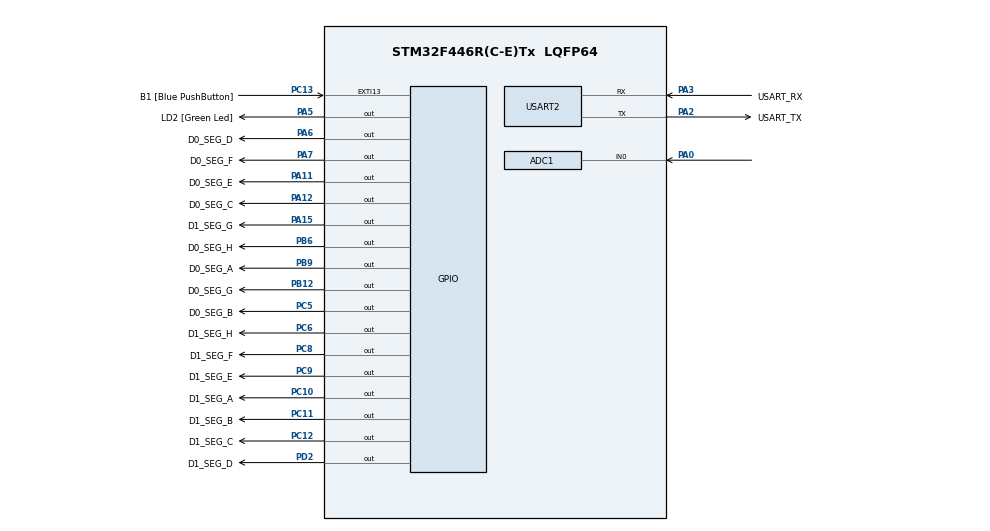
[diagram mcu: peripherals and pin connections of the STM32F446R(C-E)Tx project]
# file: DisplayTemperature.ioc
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Mcu.Family=STM32F4
PH0-OSC_IN.Signal=RCC_OSC_IN
RCC.CortexFreq_Value=84000000
ADC1.ContinuousConvMode=ENABLE
PC10.Signal=GPIO_Output
PC12.Signal=GPIO_Output
PA14.GPIO_Label=TCK
PC6.GPIO_Label=D1_SEG_H
PA6.GPIO_Label=D0_SEG_D
PB6.GPIO_Label=D0_SEG_H
PC13.GPIO_Label=B1 [Blue PushButton]
PA5.PinState=GPIO_PIN_RESET
RCC.SYSCLKSource=RCC_SYSCLKSOURCE_PLLCLK
ProjectManager.StackSize=0x400
PC8.PinState=GPIO_PIN_SET
PA15.GPIO_Label=D1_SEG_G
PA12.Signal=GPIO_Output
PA7.PinState=GPIO_PIN_SET
ADC1.Channel-3\#ChannelRegularConversion=ADC_CHANNEL_0
RCC.HCLKFreq_Value=84000000
RCC.APB2TimFreq_Value=84000000
PB6.Signal=GPIO_Output
PB12.PinState=GPIO_PIN_SET
RCC.AHBFreq_Value=84000000
PH0-OSC_IN.Mode=HSE-External-Oscillator
PA12.PinState=GPIO_PIN_SET
RCC.HSE_VALUE=8000000
PB12.GPIO_Label=D0_SEG_G
PC14-OSC32_IN.Mode=LSE-External-Oscillator
PA14.Mode=Serial_Wire
PC11.GPIO_Label=D1_SEG_B
SH.ADCx_IN0.0=ADC1_IN0,IN0
PC10.PinState=GPIO_PIN_SET
RCC.FLatency-AdvancedSettings=FLASH_LATENCY_2
PH1-OSC_OUT.Mode=HSE-External-Oscillator
Mcu.Package=LQFP64
PB9.Signal=GPIO_Output
PA6.Signal=GPIO_Output
USART2.VirtualMode=VM_ASYNC
PA2.GPIO_Label=USART_TX
PA15.Signal=GPIO_Output
RCC.APB1TimFreq_Value=84000000
PC5.Signal=GPIO_Output
ADC1.EOCSelection=ADC_EOC_SEQ_CONV
PA12.GPIO_Speed=GPIO_SPEED_FREQ_LOW
PA3.Signal=USART2_RX
PB3.GPIO_Label=SWO
PC15-OSC32_OUT.Mode=LSE-External-Oscillator
PB9.GPIO_Label=D0_SEG_A
PC10.GPIO_Label=D1_SEG_A
PC9.GPIO_Label=D1_SEG_E
PC11.Signal=GPIO_Output
PC13.Signal=GPXTI13
PC8.Signal=GPIO_Output
PC6.Signal=GPIO_Output
PC9.PinState=GPIO_PIN_SET
PA11.GPIO_Label=D0_SEG_E
PA6.PinState=GPIO_PIN_SET
RCC.APB1CLKDivider=RCC_HCLK_DIV2
PC14-OSC32_IN.Signal=RCC_OSC32_IN
PA12.GPIO_Label=D0_SEG_C
PA0-WKUP.Signal=ADCx_IN0
PC8.GPIO_Label=D1_SEG_F
PA3.Mode=Asynchronous
PA13.Signal=SYS_JTMS-SWDIO
PC12.PinState=GPIO_PIN_SET
ProjectManager.TargetToolchain=STM32CubeIDE
RCC.USBFreq_Value=168000000
PC15-OSC32_OUT.Signal=RCC_OSC32_OUT
PC6.PinState=GPIO_PIN_SET
PA5.Signal=GPIO_Output
PD2.PinState=GPIO_PIN_SET
board=NUCLEO-F446RE
RCC.VCOOutputFreq_Value=336000000
PA15.PinState=GPIO_PIN_SET
RCC.APB2Freq_Value=84000000
PC11.PinState=GPIO_PIN_SET
PH1-OSC_OUT.Signal=RCC_OSC_OUT
PA13.Mode=Serial_Wire
Mcu.Name=STM32F446R(C-E)Tx
PA2.Signal=USART2_TX
PA13.GPIO_Label=TMS
RCC.48MHZClocksFreq_Value=84000000
PB3.Signal=SYS_JTDO-SWO
RCC.SYSCLKFreq_VALUE=84000000
PA7.GPIO_Label=D0_SEG_F
ADC1.master=1
PC5.PinState=GPIO_PIN_SET
PA5.GPIO_Label=LD2 [Green Led]
ADC1.Rank-3\#ChannelRegularConversion=1
ADC1.SamplingTime-3\#ChannelRegularConversion=ADC_SAMPLETIME_3CYCLES
PC13.GPIO_ModeDefaultEXTI=GPIO_MODE_IT_FALLING
PC5.GPIO_Label=D0_SEG_B
PC12.GPIO_Label=D1_SEG_C
PB6.PinState=GPIO_PIN_SET
PB9.PinState=GPIO_PIN_SET
PA11.Signal=GPIO_Output
PA14.Signal=SYS_JTCK-SWCLK
ProjectManager.HeapSize=0x200
RCC.HSI_VALUE=16000000
RCC.PLLP=RCC_PLLP_DIV4
NVIC.PriorityGroup=NVIC_PRIORITYGROUP_0
ADC1.NbrOfConversionFlag=1
RCC.PLLN=336
PA2.Mode=Asynchronous
PC9.Signal=GPIO_Output
PD2.Signal=GPIO_Output
PA11.PinState=GPIO_PIN_SET
RCC.APB1Freq_Value=42000000
PB12.Signal=GPIO_Output
PD2.GPIO_Label=D1_SEG_D
PA3.GPIO_Label=USART_RX
PA7.Signal=GPIO_Output

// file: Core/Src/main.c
/* USER CODE BEGIN Header */
/**
 ******************************************************************************
 * @file           : main.c
 * @brief          : Main program body
 ******************************************************************************
 * @attention
 *
 * <h2><center>&copy; Copyright (c) 2021 STMicroelectronics.
 * All rights reserved.</center></h2>
 *
 * This software component is licensed by ST under BSD 3-Clause license,
 * the "License"; You may not use this file except in compliance with the
 * License. You may obtain a copy of the License at:
 *                        opensource.org/licenses/BSD-3-Clause
 *
 ******************************************************************************
 */
/* USER CODE END Header */
#include "main.h"

/* USER CODE BEGIN Includes */

#include "Display.h"
#include "MCP9701ADataProcessor.h"

/* USER CODE END Includes */

ADC_HandleTypeDef hadc1;

UART_HandleTypeDef huart2;

void SystemClock_Config (void);
static void MX_GPIO_Init (void);
static void MX_USART2_UART_Init (void);
static void MX_ADC1_Init (void);

int main (void)
{

/* Reset of all peripherals, Initializes the Flash interface and the Systick. */
    HAL_Init ();

/* Configure the system clock */
    SystemClock_Config ();

/* Initialize all configured peripherals */
    MX_GPIO_Init ();
    MX_USART2_UART_Init ();
    MX_ADC1_Init ();
/* USER CODE BEGIN 2 */

    GPIO_TypeDef *d0Ports[] =
        { D0_SEG_A_GPIO_Port, D0_SEG_B_GPIO_Port, D0_SEG_C_GPIO_Port,
        D0_SEG_D_GPIO_Port,
          D0_SEG_E_GPIO_Port, D0_SEG_F_GPIO_Port,
          D0_SEG_G_GPIO_Port,
          D0_SEG_H_GPIO_Port };

    uint16_t d0Pins[] =
        { D0_SEG_A_Pin, D0_SEG_B_Pin, D0_SEG_C_Pin, D0_SEG_D_Pin,
        D0_SEG_E_Pin,
          D0_SEG_F_Pin, D0_SEG_G_Pin, D0_SEG_H_Pin };

    GPIO_TypeDef *d1Ports[] =
        { D1_SEG_A_GPIO_Port, D1_SEG_B_GPIO_Port, D1_SEG_C_GPIO_Port,
        D1_SEG_D_GPIO_Port,
          D1_SEG_E_GPIO_Port, D1_SEG_F_GPIO_Port,
          D1_SEG_G_GPIO_Port,
          D1_SEG_H_GPIO_Port };

    uint16_t d1Pins[] =
        { D1_SEG_A_Pin, D1_SEG_B_Pin, D1_SEG_C_Pin, D1_SEG_D_Pin,
        D1_SEG_E_Pin,
          D1_SEG_F_Pin, D1_SEG_G_Pin, D1_SEG_H_Pin };

    Display d0;  // Create the first display
    Display d1;  // Create the second display

    displayFactory (&d0, d0Ports, d0Pins);  // Initialize the first display
    displayFactory (&d1, d1Ports, d1Pins);  // Initialize the second display

    Display *displays[] =
        { &d0, &d1 };  // Create an array of displays, used to display a number

    HAL_ADC_Start (&hadc1);

    enum BrightnessLevel brightness = MIN_BRIGHTNESS;

/* USER CODE END 2 */

/* Infinite loop */
    while (1)
    {

/* USER CODE BEGIN 3 */
//        for (enum BrightnessLevel i = MIN_BRIGHTNESS; i <= MAX_BRIGHTNESS; ++i)
//        {
//            displayNumber (displays, 2, readTemperature (&hadc1));
//            HAL_Delay (i);
//            displayNumber (displays, 2, CLEAR_DISPLAY);
//            HAL_Delay (MAX_BRIGHTNESS - i);
//        }
//
//        for (enum BrightnessLevel i = MAX_BRIGHTNESS; i > MIN_BRIGHTNESS; --i)
//        {
//            displayNumber (displays, 2, readTemperature (&hadc1));
//            HAL_Delay (i);
//            displayNumber (displays, 2, CLEAR_DISPLAY);
//            HAL_Delay (MAX_BRIGHTNESS - i);
//        }

        displayNumber (displays, 2, readTemperature (&hadc1));
        HAL_Delay (brightness);
        displayNumber (displays, 2, CLEAR_DISPLAY);
        HAL_Delay (MAX_BRIGHTNESS - brightness);
    }
/* USER CODE END 3 */
}

void SystemClock_Config (void)
{
    RCC_OscInitTypeDef RCC_OscInitStruct =
        { 0 };
    RCC_ClkInitTypeDef RCC_ClkInitStruct =
        { 0 };

/** Configure the main internal regulator output voltage
  */
    __HAL_RCC_PWR_CLK_ENABLE();
    __HAL_PWR_VOLTAGESCALING_CONFIG(PWR_REGULATOR_VOLTAGE_SCALE3);
/** Initializes the RCC Oscillators according to the specified parameters
  * in the RCC_OscInitTypeDef structure.
  */
    RCC_OscInitStruct.OscillatorType = RCC_OSCILLATORTYPE_HSI;
    RCC_OscInitStruct.HSIState = RCC_HSI_ON;
    RCC_OscInitStruct.HSICalibrationValue = RCC_HSICALIBRATION_DEFAULT;
    RCC_OscInitStruct.PLL.PLLState = RCC_PLL_ON;
    RCC_OscInitStruct.PLL.PLLSource = RCC_PLLSOURCE_HSI;
    RCC_OscInitStruct.PLL.PLLM = 16;
    RCC_OscInitStruct.PLL.PLLN = 336;
    RCC_OscInitStruct.PLL.PLLP = RCC_PLLP_DIV4;
    RCC_OscInitStruct.PLL.PLLQ = 2;
    RCC_OscInitStruct.PLL.PLLR = 2;
    if (HAL_RCC_OscConfig (&RCC_OscInitStruct) != HAL_OK)
    {
        Error_Handler ();
    }
/** Initializes the CPU, AHB and APB buses clocks
  */
    RCC_ClkInitStruct.ClockType = RCC_CLOCKTYPE_HCLK | RCC_CLOCKTYPE_SYSCLK
            | RCC_CLOCKTYPE_PCLK1 | RCC_CLOCKTYPE_PCLK2;
    RCC_ClkInitStruct.SYSCLKSource = RCC_SYSCLKSOURCE_PLLCLK;
    RCC_ClkInitStruct.AHBCLKDivider = RCC_SYSCLK_DIV1;
    RCC_ClkInitStruct.APB1CLKDivider = RCC_HCLK_DIV2;
    RCC_ClkInitStruct.APB2CLKDivider = RCC_HCLK_DIV1;

    if (HAL_RCC_ClockConfig (&RCC_ClkInitStruct, FLASH_LATENCY_2) != HAL_OK)
    {
        Error_Handler ();
    }
}

static void MX_ADC1_Init (void)
{

    ADC_ChannelConfTypeDef sConfig =
        { 0 };

/** Configure the global features of the ADC (Clock, Resolution, Data Alignment and number of conversion)
  */
    hadc1.Instance = ADC1;
    hadc1.Init.ClockPrescaler = ADC_CLOCK_SYNC_PCLK_DIV4;
    hadc1.Init.Resolution = ADC_RESOLUTION_12B;
    hadc1.Init.ScanConvMode = DISABLE;
    hadc1.Init.ContinuousConvMode = ENABLE;
    hadc1.Init.DiscontinuousConvMode = DISABLE;
    hadc1.Init.ExternalTrigConvEdge = ADC_EXTERNALTRIGCONVEDGE_NONE;
    hadc1.Init.ExternalTrigConv = ADC_SOFTWARE_START;
    hadc1.Init.DataAlign = ADC_DATAALIGN_RIGHT;
    hadc1.Init.NbrOfConversion = 1;
    hadc1.Init.DMAContinuousRequests = DISABLE;
    hadc1.Init.EOCSelection = ADC_EOC_SEQ_CONV;
    if (HAL_ADC_Init (&hadc1) != HAL_OK)
    {
        Error_Handler ();
    }
/** Configure for the selected ADC regular channel its corresponding rank in the sequencer and its sample time.
  */
    sConfig.Channel = ADC_CHANNEL_0;
    sConfig.Rank = 1;
    sConfig.SamplingTime = ADC_SAMPLETIME_3CYCLES;
    if (HAL_ADC_ConfigChannel (&hadc1, &sConfig) != HAL_OK)
    {
        Error_Handler ();
    }

}

static void MX_USART2_UART_Init (void)
{

    huart2.Instance = USART2;
    huart2.Init.BaudRate = 115200;
    huart2.Init.WordLength = UART_WORDLENGTH_8B;
    huart2.Init.StopBits = UART_STOPBITS_1;
    huart2.Init.Parity = UART_PARITY_NONE;
    huart2.Init.Mode = UART_MODE_TX_RX;
    huart2.Init.HwFlowCtl = UART_HWCONTROL_NONE;
    huart2.Init.OverSampling = UART_OVERSAMPLING_16;
    if (HAL_UART_Init (&huart2) != HAL_OK)
    {
        Error_Handler ();
    }

}

static void MX_GPIO_Init (void)
{
    GPIO_InitTypeDef GPIO_InitStruct =
        { 0 };

/* GPIO Ports Clock Enable */
    __HAL_RCC_GPIOC_CLK_ENABLE();
    __HAL_RCC_GPIOH_CLK_ENABLE();
    __HAL_RCC_GPIOA_CLK_ENABLE();
    __HAL_RCC_GPIOB_CLK_ENABLE();
    __HAL_RCC_GPIOD_CLK_ENABLE();

/*Configure GPIO pin Output Level */
    HAL_GPIO_WritePin (LD2_GPIO_Port, LD2_Pin, GPIO_PIN_RESET);

/*Configure GPIO pin Output Level */
    HAL_GPIO_WritePin (GPIOA,
    D0_SEG_D_Pin | D0_SEG_F_Pin | D0_SEG_E_Pin | D0_SEG_C_Pin | D1_SEG_G_Pin,
                       GPIO_PIN_SET);

/*Configure GPIO pin Output Level */
    HAL_GPIO_WritePin (GPIOC,
                       D0_SEG_B_Pin | D1_SEG_H_Pin | D1_SEG_F_Pin | D1_SEG_E_Pin
                               | D1_SEG_A_Pin | D1_SEG_B_Pin | D1_SEG_C_Pin,
                       GPIO_PIN_SET);

/*Configure GPIO pin Output Level */
    HAL_GPIO_WritePin (GPIOB,
    D0_SEG_G_Pin | D0_SEG_H_Pin | D0_SEG_A_Pin,
                       GPIO_PIN_SET);

/*Configure GPIO pin Output Level */
    HAL_GPIO_WritePin (D1_SEG_D_GPIO_Port, D1_SEG_D_Pin, GPIO_PIN_SET);

/*Configure GPIO pin : B1_Pin */
    GPIO_InitStruct.Pin = B1_Pin;
    GPIO_InitStruct.Mode = GPIO_MODE_IT_FALLING;
    GPIO_InitStruct.Pull = GPIO_NOPULL;
    HAL_GPIO_Init (B1_GPIO_Port, &GPIO_InitStruct);

/*Configure GPIO pins : LD2_Pin D0_SEG_D_Pin D0_SEG_F_Pin D0_SEG_E_Pin
                           D0_SEG_C_Pin D1_SEG_G_Pin */
    GPIO_InitStruct.Pin = LD2_Pin | D0_SEG_D_Pin | D0_SEG_F_Pin | D0_SEG_E_Pin
            | D0_SEG_C_Pin | D1_SEG_G_Pin;
    GPIO_InitStruct.Mode = GPIO_MODE_OUTPUT_PP;
    GPIO_InitStruct.Pull = GPIO_NOPULL;
    GPIO_InitStruct.Speed = GPIO_SPEED_FREQ_LOW;
    HAL_GPIO_Init (GPIOA, &GPIO_InitStruct);

/*Configure GPIO pins : D0_SEG_B_Pin D1_SEG_H_Pin D1_SEG_F_Pin D1_SEG_E_Pin
                           D1_SEG_A_Pin D1_SEG_B_Pin D1_SEG_C_Pin */
    GPIO_InitStruct.Pin = D0_SEG_B_Pin | D1_SEG_H_Pin | D1_SEG_F_Pin
            | D1_SEG_E_Pin | D1_SEG_A_Pin | D1_SEG_B_Pin | D1_SEG_C_Pin;
    GPIO_InitStruct.Mode = GPIO_MODE_OUTPUT_PP;
    GPIO_InitStruct.Pull = GPIO_NOPULL;
    GPIO_InitStruct.Speed = GPIO_SPEED_FREQ_LOW;
    HAL_GPIO_Init (GPIOC, &GPIO_InitStruct);

/*Configure GPIO pins : D0_SEG_G_Pin D0_SEG_H_Pin D0_SEG_A_Pin */
    GPIO_InitStruct.Pin = D0_SEG_G_Pin | D0_SEG_H_Pin | D0_SEG_A_Pin;
    GPIO_InitStruct.Mode = GPIO_MODE_OUTPUT_PP;
    GPIO_InitStruct.Pull = GPIO_NOPULL;
    GPIO_InitStruct.Speed = GPIO_SPEED_FREQ_LOW;
    HAL_GPIO_Init (GPIOB, &GPIO_InitStruct);

/*Configure GPIO pin : D1_SEG_D_Pin */
    GPIO_InitStruct.Pin = D1_SEG_D_Pin;
    GPIO_InitStruct.Mode = GPIO_MODE_OUTPUT_PP;
    GPIO_InitStruct.Pull = GPIO_NOPULL;
    GPIO_InitStruct.Speed = GPIO_SPEED_FREQ_LOW;
    HAL_GPIO_Init (D1_SEG_D_GPIO_Port, &GPIO_InitStruct);

}

void Error_Handler (void)
{
/* USER CODE BEGIN Error_Handler_Debug */
/* User can add his own implementation to report the HAL error return state */
    __disable_irq ();
    while (1)
    {
    }
/* USER CODE END Error_Handler_Debug */
}

/************************ (C) COPYRIGHT STMicroelectronics *****END OF FILE****/
